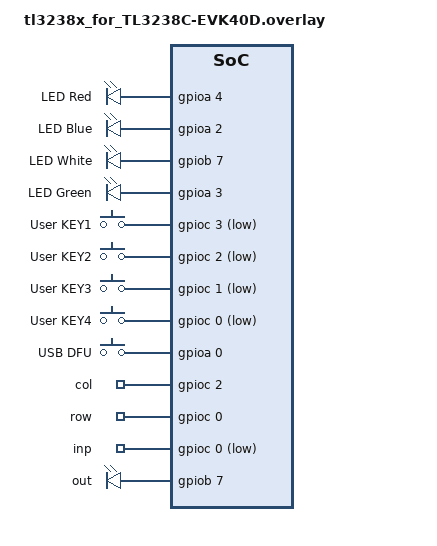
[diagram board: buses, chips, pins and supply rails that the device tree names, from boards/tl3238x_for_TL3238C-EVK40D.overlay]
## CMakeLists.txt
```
#
#    Copyright (c) 2022-2025 Project CHIP Authors
#
#    Licensed under the Apache License, Version 2.0 (the "License");
#    you may not use this file except in compliance with the License.
#    You may obtain a copy of the License at
#
#        http://www.apache.org/licenses/LICENSE-2.0
#
#    Unless required by applicable law or agreed to in writing, software
#    distributed under the License is distributed on an "AS IS" BASIS,
#    WITHOUT WARRANTIES OR CONDITIONS OF ANY KIND, either express or implied.
#    See the License for the specific language governing permissions and
#    limitations under the License.
#

cmake_minimum_required(VERSION 3.13.1)

get_filename_component(CHIP_ROOT ${CMAKE_CURRENT_SOURCE_DIR}/third_party/connectedhomeip REALPATH)
get_filename_component(TELINK_COMMON ${CHIP_ROOT}/examples/platform/telink REALPATH)
get_filename_component(GEN_DIR ${CHIP_ROOT}/zzz_generated/ REALPATH)

include(${TELINK_COMMON}/common.cmake)
include(${CHIP_ROOT}/config/telink/app/enable-gnu-std.cmake)
include(${CHIP_ROOT}/src/app/chip_data_model.cmake)

project(chip-telink-lighting-example)

target_include_directories(app PRIVATE
                           include
                           ${GEN_DIR}/app-common
                           ${GEN_DIR}/lighting-app
                           ${TELINK_COMMON}/common/include
                           ${TELINK_COMMON}/util/include
                           ${TELINK_COMMON}/app/include
                           ${TELINK_COMMON}/zephyr_ext)

if(CONFIG_TFLM_FEATURE)
  target_include_directories(app PRIVATE
                             src
                             src/tflm/micro_speech
                             src/tflm/models
                             ${ZEPHYR_BASE}/../modules/lib/tflite-micro-telink
                             ${ZEPHYR_BASE}/../modules/lib/tflite-micro-telink/third_party/ruy
                             ${ZEPHYR_BASE}/../modules/lib/tflite-micro-telink/third_party/gemmlowp
                             ${ZEPHYR_BASE}/../modules/lib/tflite-micro-telink/third_party/flatbuffers/include
                             ${ZEPHYR_BASE}/../modules/lib/tflite-micro-telink/third_party/kissfft/tools
                             ${ZEPHYR_BASE}/../modules/lib/tflite-micro-telink/third_party/kissfft)
endif()

target_sources(app PRIVATE
               src/AppTask.cpp
               src/ZclCallbacks.cpp
               ${TELINK_COMMON}/common/src/mainCommon.cpp
               ${TELINK_COMMON}/common/src/AppTaskCommon.cpp
               ${TELINK_COMMON}/util/src/LEDManager.cpp
               ${TELINK_COMMON}/util/src/ButtonManager.cpp
               ${TELINK_COMMON}/util/src/ThreadUtil.cpp
               ${TELINK_COMMON}/util/src/PWMManager.cpp
               ${TELINK_COMMON}/util/src/ColorFormat.cpp
               ${TELINK_COMMON}/zephyr_ext/zephyr_key_matrix.c
               ${TELINK_COMMON}/zephyr_ext/zephyr_key_pool.c
               ${TELINK_COMMON}/zephyr_ext/zephyr_led_pool.c
               ${TELINK_COMMON}/zephyr_ext/zephyr_ws2812.c)

if(CONFIG_TFLM_FEATURE)
  target_sources(app PRIVATE
                 src/tflm/audio/app_audio.c
                 src/tflm/audio/app_codec.c
                 src/tflm/audio/audio_common.c
                 src/tflm/models/audio_preprocessor_int8_model_data.cpp
                 src/tflm/models/audio_preprocessor_int8_model_data.h
                 src/tflm/models/micro_speech_quantized_model_data.cpp
                 src/tflm/models/micro_speech_quantized_model_data.h
                 src/tflm/micro_speech/micro_model_settings.h
                 src/tflm/micro_speech/tflite_micro_micro_speech.cpp
                 src/tflm/micro_speech/tflite_micro_micro_speech.h
                 src/tflm/errno_stub.c)
endif()

chip_configure_data_model(app
    ZAP_FILE ${CMAKE_CURRENT_SOURCE_DIR}/../lighting-common/lighting-app.zap
)

if(CONFIG_PWM)
	target_sources(app PRIVATE 
                   ${TELINK_COMMON}/zephyr_ext/zephyr_pwm_pool.c)
endif()

if(CONFIG_BOOTLOADER_MCUBOOT)
  target_sources(app PRIVATE ${TELINK_COMMON}/util/src/OTAUtil.cpp)
endif()

if (CONFIG_CHIP_PW_RPC)
  include(${TELINK_COMMON}/Rpc.cmake)
endif(CONFIG_CHIP_PW_RPC)

if(CONFIG_BT_CHANNEL_SOUNDING)
  target_sources(app PRIVATE ${CHIP_ROOT}/src/platform/telink/CsReflector.cpp)
endif()
```

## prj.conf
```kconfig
#
#    Copyright (c) 2021-2024 Project CHIP Authors
#
#    Licensed under the Apache License, Version 2.0 (the "License");
#    you may not use this file except in compliance with the License.
#    You may obtain a copy of the License at
#
#        http://www.apache.org/licenses/LICENSE-2.0
#
#    Unless required by applicable law or agreed to in writing, software
#    distributed under the License is distributed on an "AS IS" BASIS,
#    WITHOUT WARRANTIES OR CONDITIONS OF ANY KIND, either express or implied.
#    See the License for the specific language governing permissions and
#    limitations under the License.
#

# This sample uses Kconfig.defaults to set options common for all
# samples. This file should contain only options specific for this sample
# or overrides of default values.

# Enable CHIP
CONFIG_CHIP=y
CONFIG_STD_CPP17=y

# 32773 == 0x8005 (example lighting-app)
CONFIG_CHIP_DEVICE_PRODUCT_ID=32773

# Bluetooth Low Energy configuration
CONFIG_BT_DEVICE_NAME="TelinkLight"

# Disable Matter OTA DFU
CONFIG_CHIP_OTA_REQUESTOR=y
CONFIG_CHIP_DFU_OVER_BT_SMP=y
CONFIG_CHIP_DFU_OVER_BT_SMP_BUILD=y
CONFIG_CHIP_DEVICE_SOFTWARE_VERSION=1
CONFIG_TELINK_OTA_BUTTON_TEST=n

# Disable CHIP shell support
CONFIG_CHIP_LIB_SHELL=n

# Disable factory data support
CONFIG_CHIP_FACTORY_DATA=n
CONFIG_CHIP_FACTORY_DATA_BUILD=n
CONFIG_CHIP_FACTORY_DATA_MERGE_WITH_FIRMWARE=n
CONFIG_CHIP_CERTIFICATION_DECLARATION_STORAGE=n

# open seucre programming , need to open CONFIG_CHIP_FACTORY_DATA and CONFIG_CHIP_CERTIFICATION_DECLARATION_STORAGE
# init should be n 
CONFIG_SECURE_PROGRAMMING=n


# Enable PWM
CONFIG_PWM=y
CONFIG_CHIP_DEVICE_DISCRIMINATOR=0xF00
# Enable Power Management
CONFIG_PM=n
# Enable ADC
CONFIG_ADC=y

#compress ota
CONFIG_COMPRESS_LZMA=n
CONFIG_LZMA=n

# matter switch mode
# config NORMAL_MODE    0 independent matter mode
# ACTION_DUAL_MODE      1 matter action switch mode ,such as by button
# AUTO_SWITCH_DUAL_MODE 2 matter auto-switch mode ,such as by scan QR code.should use 4m flash
CONFIG_DUAL_MODE=2
# Enable Independent Button
CONFIG_CHIP_BUTTON_MANAGER_IRQ_MODE=n

# Enable CHIP-ID via ble
CONFIG_EXPOSE_CHIP_ID_VIA_BLE=n

# Enable Deferred Store Attribute
CONFIG_DEFERRED_ATTR_STORAGE=n

# CONFIG_MCUBOOT_SIGNATURE_KEY_FILE="bootloader/mcuboot/ecdsa_private_key.pem"
```

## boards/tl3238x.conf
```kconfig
# CONFIG_CHIP_DEVICE_SERIAL_NUMBER="TelinkLight-tl3238x"

# Disable Matter OTA DFU
CONFIG_CHIP_OTA_REQUESTOR=y
CONFIG_CHIP_DFU_OVER_BT_SMP=y
CONFIG_CHIP_DFU_OVER_BT_SMP_BUILD=y

#compress ota
CONFIG_LZMA=y
CONFIG_COMPRESS_LZMA=y

# Enable ADC
CONFIG_ADC=y

# matter switch mode 
# config NORMAL_MODE    0 independent matter mode
# ACTION_DUAL_MODE      1 matter action switch mode ,such as by button, light-switch-app
# AUTO_SWITCH_DUAL_MODE 2 matter auto-switch mode ,such as lighting-app by scan QR code.should use 4m flash
CONFIG_DUAL_MODE=0
```

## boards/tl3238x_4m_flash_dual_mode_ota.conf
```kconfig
# CONFIG_CHIP_DEVICE_SERIAL_NUMBER="TelinkLight-tlsr9268m"

# Disable Matter OTA DFU
CONFIG_CHIP_OTA_REQUESTOR=y
CONFIG_CHIP_DFU_OVER_BT_SMP=y
CONFIG_CHIP_DFU_OVER_BT_SMP_BUILD=y

#compress ota
CONFIG_LZMA=n
CONFIG_COMPRESS_LZMA=n

# Enable ADC
CONFIG_ADC=y

# matter switch mode 
# config NORMAL_MODE    0 independent matter mode
# ACTION_DUAL_MODE      1 matter action switch mode ,such as by button, light-switch-app
# AUTO_SWITCH_DUAL_MODE 2 matter auto-switch mode ,such as lighting-app by scan QR code.should use 4m flash
CONFIG_DUAL_MODE=2
```

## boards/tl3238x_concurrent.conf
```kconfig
# TL3238X Concurrent Mode (Matter over Thread + BLE coexistence)
# This config enables BLE + 802.15.4 coexistence mode.
# Usage:
#   west build -p -b tl3238x -d build_tl3238x_concurrent -- \
#   -DCONF_FILE="prj.conf boards/tl3238x_concurrent.conf" > build_tl3238x_concurrent.log

# Enable concurrent mode (Matter over Thread + BLE)
CONFIG_CHIP_CONCURRENT_MODE=y
CONFIG_IEEE802154_TLX_BLE_COEXIST=y

# CONFIG_CHIP_DEVICE_SERIAL_NUMBER="TelinkLight-tl3238x"

# Disable Matter OTA DFU
CONFIG_CHIP_OTA_REQUESTOR=n

CONFIG_CHIP_DFU_OVER_BT_SMP=n
CONFIG_CHIP_DFU_OVER_BT_SMP_BUILD=n

# LZMA compression library support
# Keep LZMA library enabled for potential general compression needs
CONFIG_LZMA=n
# Disable Telink-specific LZMA firmware decompression for bootloader
CONFIG_COMPRESS_LZMA=n

# Enable ADC
CONFIG_ADC=y

# matter switch mode 
# config NORMAL_MODE    0 independent matter mode
# ACTION_DUAL_MODE      1 matter action switch mode ,such as by button, light-switch-app
# AUTO_SWITCH_DUAL_MODE 2 matter auto-switch mode ,such as lighting-app by scan QR code.should use 4m flash
CONFIG_DUAL_MODE=0
```

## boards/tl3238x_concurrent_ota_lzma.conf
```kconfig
# TL3238X Concurrent Mode (Matter over Thread + BLE coexistence) with OTA
# This config enables BLE + 802.15.4 coexistence mode with OTA support.
# Usage:
#   west build -p -b tl3238x -d build_tl3238x_concurrent_ota_v1 -- \
#   -DCONF_FILE="prj.conf boards/tl3238x_concurrent_ota.conf" \
#   -DCONFIG_CHIP_DEVICE_SOFTWARE_VERSION=1 > build_tl3238x_concurrent_ota_v1.log

# Enable concurrent mode (Matter over Thread + BLE)
CONFIG_CHIP_CONCURRENT_MODE=y
CONFIG_IEEE802154_TLX_BLE_COEXIST=y

# CONFIG_CHIP_DEVICE_SERIAL_NUMBER="TelinkLight-tl3238x"

# Enable Matter OTA DFU
CONFIG_CHIP_OTA_REQUESTOR=y

CONFIG_CHIP_DFU_OVER_BT_SMP=y
CONFIG_CHIP_DFU_OVER_BT_SMP_BUILD=y

# LZMA compression library support
CONFIG_LZMA=y
CONFIG_COMPRESS_LZMA=y

# Enable ADC
CONFIG_ADC=y

# matter switch mode 
# config NORMAL_MODE    0 independent matter mode
# ACTION_DUAL_MODE      1 matter action switch mode ,such as by button, light-switch-app
# AUTO_SWITCH_DUAL_MODE 2 matter auto-switch mode ,such as lighting-app by scan QR code.should use 4m flash
CONFIG_DUAL_MODE=0
```

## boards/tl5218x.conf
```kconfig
# Disable Matter OTA DFU
CONFIG_CHIP_OTA_REQUESTOR=y
CONFIG_CHIP_DFU_OVER_BT_SMP=y
CONFIG_CHIP_DFU_OVER_BT_SMP_BUILD=y

#compress ota
CONFIG_LZMA=n
CONFIG_COMPRESS_LZMA=n

# Enable ADC
CONFIG_ADC=y

# matter switch mode 
# config NORMAL_MODE    0 independent matter mode
# ACTION_DUAL_MODE      1 matter action switch mode ,such as by button
# AUTO_SWITCH_DUAL_MODE 2 matter auto-switch mode ,such as by scan QR code.should use 4m flash
# CONFIG_DUAL_MODE=2
```

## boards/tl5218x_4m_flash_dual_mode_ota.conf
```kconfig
# CONFIG_CHIP_DEVICE_SERIAL_NUMBER="TelinkLight-tl5218x"

# Disable Matter OTA DFU
CONFIG_CHIP_OTA_REQUESTOR=y
CONFIG_CHIP_DFU_OVER_BT_SMP=y
CONFIG_CHIP_DFU_OVER_BT_SMP_BUILD=y

#compress ota
CONFIG_LZMA=n
CONFIG_COMPRESS_LZMA=n

# Enable ADC
CONFIG_ADC=n

# matter switch mode 
# config NORMAL_MODE    0 independent matter mode
# ACTION_DUAL_MODE      1 matter action switch mode ,such as by button, light-switch-app
# AUTO_SWITCH_DUAL_MODE 2 matter auto-switch mode ,such as lighting-app by scan QR code.should use 4m flash
CONFIG_DUAL_MODE=2
```

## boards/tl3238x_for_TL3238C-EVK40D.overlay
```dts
/*
 * Copyright (c) 2026 Telink Semiconductor
 *
 * SPDX-License-Identifier: Apache-2.0
 */

/ {
	aliases {
		led0 = &led_white;
		led1 = &led_green;
		led2 = &led_red;
		led3 = &led_blue;
		sw0 = &key_1;
		sw1 = &key_2;
		sw2 = &key_3;
		sw3 = &key_4;
		pwm-led0 = &pwm_led_blue;
		mcuboot-button0 = &key_dfu;
		mcuboot-led0 = &led_blue;
	};

	leds {
		compatible = "gpio-leds";
		led_red: led_0 {
			gpios = <&gpioa 4 0>; /* LEDR-PA4 */
			label = "LED Red";
		};
		led_blue: led_1 {
			gpios = <&gpioa 2 0>; /* LEDB-PA2 */
			label = "LED Blue";
		};
		led_white: led_2 {
			gpios = <&gpiob 7 0>; /* LEDW-PB7 */
			label = "LED White";
		};
		led_green: led_3 {
			gpios = <&gpioa 3 0>; /* LEDG-PA3 */
			label = "LED Green";
		};
	};

	keys {
		compatible = "gpio-keys";
		key_1: button_1 {
			label = "User KEY1";
			gpios = <&gpioc 3 11>; /* KEY1-PC3, GPIO_INPUT | GPIO_PULL_UP */
		};
		key_2: button_2 {
			label = "User KEY2";
			gpios = <&gpioc 2 11>; /* KEY2-PC2, GPIO_INPUT | GPIO_PULL_UP */
		};
		key_3: button_3 {
			label = "User KEY3";
			gpios = <&gpioc 1 11>; /* KEY3-PC1, GPIO_INPUT | GPIO_PULL_UP */
		};
		key_4: button_4 {
			label = "User KEY4";
			gpios = <&gpioc 0 11>; /* KEY4-PC0, GPIO_INPUT | GPIO_PULL_UP */
		};
		key_dfu: button_dfu {
			label = "USB DFU";
			gpios = <&gpioa 0 32>; /* 保持原有DFU按键配置 */
		};
	};

	key_matrix {
		compatible = "gpio-keys";
		col {
			gpios = <&gpioc 2 0>, <&gpioc 3 0>; /* COL0-PC2, COL1-PC3 */
		};
		row {
			gpios = <&gpioc 0 32>, <&gpioc 1 32>; /* ROW0-PC0, ROW1-PC1, GPIO_INPUT */
		};
	};

	key_pool {
		compatible = "gpio-keys";
		inp {
			gpios = <&gpioc 0 11>, <&gpioc 1 11>, <&gpioc 2 11>, <&gpioc 3 11>;
		};
	};

	led_pool {
		compatible = "gpio-leds";
		out {
			gpios = <&gpiob 7 0>; /* LEDW-PB7 */
		};
	};
};
```

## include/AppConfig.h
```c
/*
 *
 *    Copyright (c) 2021 Project CHIP Authors
 *    All rights reserved.
 *
 *    Licensed under the Apache License, Version 2.0 (the "License");
 *    you may not use this file except in compliance with the License.
 *    You may obtain a copy of the License at
 *
 *        http://www.apache.org/licenses/LICENSE-2.0
 *
 *    Unless required by applicable law or agreed to in writing, software
 *    distributed under the License is distributed on an "AS IS" BASIS,
 *    WITHOUT WARRANTIES OR CONDITIONS OF ANY KIND, either express or implied.
 *    See the License for the specific language governing permissions and
 *    limitations under the License.
 */

#pragma once

// ---- Lighting Example App Config ----

#define APP_SET_DEVICE_INFO_PROVIDER 1
#define APP_SET_NETWORK_COMM_ENDPOINT_SEC 0

// -----User setting part
#define APP_LIGHT_USER_MODE_EN 1

#define APP_LIGHT_PWM 0
#define APP_LIGHT_I2C 1
#define APP_LIGHT_ADC 2

#if CONFIG_I2C
#define APP_LIGHT_MODE APP_LIGHT_I2C
#elif CONFIG_ADC
#define APP_LIGHT_MODE APP_LIGHT_ADC
#define APP_TELINK_DRIVERS_ADC 0
#else
#define APP_LIGHT_MODE APP_LIGHT_PWM
#endif

// Independent Factory Reset Button
#define INDEPENDENT_FACTORY_RESET_BUTTON 0

#define FW_TYPE_PRODUCT 0
#define FW_TYPE_DEBUG 1
#define FW_TYPE_DEVELOP 2

#define MATTER_FW_TYPE FW_TYPE_PRODUCT
```

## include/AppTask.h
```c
/*
 *
 *    Copyright (c) 2022-2023 Project CHIP Authors
 *    All rights reserved.
 *
 *    Licensed under the Apache License, Version 2.0 (the "License");
 *    you may not use this file except in compliance with the License.
 *    You may obtain a copy of the License at
 *
 *        http://www.apache.org/licenses/LICENSE-2.0
 *
 *    Unless required by applicable law or agreed to in writing, software
 *    distributed under the License is distributed on an "AS IS" BASIS,
 *    WITHOUT WARRANTIES OR CONDITIONS OF ANY KIND, either express or implied.
 *    See the License for the specific language governing permissions and
 *    limitations under the License.
 */

#pragma once

#include "AppTaskCommon.h"

class AppTask : public AppTaskCommon
{
public:
    enum Fixture_Action : uint8_t
    {
        ON_ACTION = 0,
        OFF_ACTION,
        LEVEL_ACTION,
        COLOR_ACTION_XY,
        COLOR_ACTION_HSV,
        COLOR_ACTION_CT,

        INVALID_ACTION
    };

#ifdef CONFIG_CHIP_ENABLE_POWER_ON_FACTORY_RESET
    void PowerOnFactoryReset(void);
#endif /* CONFIG_CHIP_ENABLE_POWER_ON_FACTORY_RESET */

    bool IsTurnedOn() const;
    void SetInitiateAction(Fixture_Action aAction, int32_t aActor, uint8_t * value);
    void UpdateClusterState(void);

#ifdef CONFIG_TFLM_FEATURE
    static void MicroSpeechProcessStop();
#endif

private:
    friend AppTask & GetAppTask(void);
    friend class AppTaskCommon;

    CHIP_ERROR Init(void);
    void Init_cluster_info(void);
    void Set_cluster_info(void);

    void LinkLeds(LedManager & ledManager);

#ifdef CONFIG_TFLM_FEATURE
    static void AudioProcessUpdateTimerTimeoutCallback(k_timer * timer);
    static void AudioProcessUpdateTimerEventHandler(AppEvent * aEvent);
    static void MicroSpeechProcessStart();
#endif

    static void LightingActionEventHandler(AppEvent * aEvent);
#ifdef CONFIG_CHIP_ENABLE_POWER_ON_FACTORY_RESET
    static void PowerOnFactoryResetEventHandler(AppEvent * aEvent);
    static void PowerOnFactoryResetTimerEvent(struct k_timer * dummy);

    static unsigned int sPowerOnFactoryResetTimerCnt;
    static k_timer sPowerOnFactoryResetTimer;
#endif /* CONFIG_CHIP_ENABLE_POWER_ON_FACTORY_RESET */

    static AppTask sAppTask;
};

inline AppTask & GetAppTask(void)
{
    return AppTask::sAppTask;
}
```

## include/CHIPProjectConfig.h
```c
/*
 *
 *    Copyright (c) 2021 Project CHIP Authors
 *    All rights reserved.
 *
 *    Licensed under the Apache License, Version 2.0 (the "License");
 *    you may not use this file except in compliance with the License.
 *    You may obtain a copy of the License at
 *
 *        http://www.apache.org/licenses/LICENSE-2.0
 *
 *    Unless required by applicable law or agreed to in writing, software
 *    distributed under the License is distributed on an "AS IS" BASIS,
 *    WITHOUT WARRANTIES OR CONDITIONS OF ANY KIND, either express or implied.
 *    See the License for the specific language governing permissions and
 *    limitations under the License.
 */

/**
 *    @file
 *          Example project configuration file for CHIP.
 *
 *          This is a place to put application or project-specific overrides
 *          to the default configuration values for general CHIP features.
 *
 */

#pragma once

// Use a default pairing code if one hasn't been provisioned in flash.
#define CHIP_DEVICE_CONFIG_USE_TEST_SETUP_PIN_CODE 20202021
#define CHIP_DEVICE_CONFIG_USE_TEST_SETUP_DISCRIMINATOR 0xF00

//  Switching from Thread child to router may cause a few second packet stall.
//  Until this is improved in OpenThread we need to increase the retransmission
//  interval to survive the stall.
#define CHIP_CONFIG_MRP_LOCAL_ACTIVE_RETRY_INTERVAL (1000_ms32)

// ========== Multicast groups Configuration Overrides =========
#undef CHIP_CONFIG_MAX_GROUP_ENDPOINTS_PER_FABRIC
#define CHIP_CONFIG_MAX_GROUP_ENDPOINTS_PER_FABRIC 2

#define CHIP_CONFIG_EXAMPLE_ACCESS_CONTROL_MAX_SUBJECTS_PER_ENTRY (4 * CHIP_CONFIG_MAX_GROUP_ENDPOINTS_PER_FABRIC)

#define CHIP_CONFIG_MAX_GROUPCAST_MEMBERSHIP_COUNT 16
```

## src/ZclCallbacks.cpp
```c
/*
 *
 *    Copyright (c) 2022-2024 Project CHIP Authors
 *    All rights reserved.
 *
 *    Licensed under the Apache License, Version 2.0 (the "License");
 *    you may not use this file except in compliance with the License.
 *    You may obtain a copy of the License at
 *
 *        http://www.apache.org/licenses/LICENSE-2.0
 *
 *    Unless required by applicable law or agreed to in writing, software
 *    distributed under the License is distributed on an "AS IS" BASIS,
 *    WITHOUT WARRANTIES OR CONDITIONS OF ANY KIND, either express or implied.
 *    See the License for the specific language governing permissions and
 *    limitations under the License.
 */

#include "AppConfig.h"
#include "AppTask.h"
#include "ColorFormat.h"

#include <app-common/zap-generated/attributes/Accessors.h>
#include <app-common/zap-generated/ids/Attributes.h>
#include <app-common/zap-generated/ids/Clusters.h>
#include <app/ConcreteAttributePath.h>
#include <lib/support/logging/CHIPLogging.h>

LOG_MODULE_DECLARE(app, CONFIG_CHIP_APP_LOG_LEVEL);

using namespace chip;
using namespace chip::app::Clusters;

#if APP_LIGHT_USER_MODE_EN

#if CONFIG_STARTUP_OPTIMIZATE
#include "AppTaskCommon.h"

static uint8_t latest_level;
#define CLUTER_SOTRE_TIMEOUT 500
#define TRANSTION_TIMER_INIT_FLAG 0x55
#define TRANSTION_TIMER_DEINIT_FLAG 0x00

struct k_timer LevelChangeTimer;
static int timer_period   = CLUTER_SOTRE_TIMEOUT;
static uint8_t init_timer = TRANSTION_TIMER_INIT_FLAG;

static void LevelTimeoutCallback(struct k_timer * timer)
{
    if (!timer)
    {
        return;
    }

    cluster_startup_para *p_para = &g_light_cluster_para;
    if (p_para->currentLevel != latest_level)
    {
        p_para->preCurrentLevel = p_para->currentLevel;
        p_para->currentLevel    = latest_level;
        printk("[LevelTimeoutCallback] currentLevel=%d\n", p_para->currentLevel);
        if (store_cluster_para(p_para) != 0)
        {
            printk("[LevelTimeoutCallback] Fail store startup cluster para\n");
        }
    }
}

void MatterPostAttributeChangeCallback(const chip::app::ConcreteAttributePath & attributePath, uint8_t type, uint16_t size,
                                       uint8_t * value)
{
    /* user mode, add the customer code here for cb */
    ClusterId clusterId     = attributePath.mClusterId;
    AttributeId attributeId = attributePath.mAttributeId;

    if (init_timer == TRANSTION_TIMER_INIT_FLAG)
    {
        k_timer_init(&LevelChangeTimer, &LevelTimeoutCallback, nullptr);
        init_timer = TRANSTION_TIMER_DEINIT_FLAG;
    }

    Protocols::InteractionModel::Status status;
    Clusters::ColorControl::ColorModeEnum tmpColorMode;
    Clusters::ColorControl::EnhancedColorModeEnum tmpEnhancedColorMode;
    cluster_startup_para * p_para = &g_light_cluster_para;
    if (clusterId == OnOff::Id)
    {
        if (attributeId == OnOff::Attributes::OnOff::Id)
        {
            uint8_t tmp = *value;
            if (p_para->onOff != tmp)
            {
                p_para->onOff = tmp;
                printk("[clusterId:OnOff] OnOff=%d\n", p_para->onOff);

                if (store_cluster_para(p_para) != 0)
                {
                    printk("[clusterId:OnOff] Fail store startup cluster para\n");
                }
            }
        }
        else if (attributeId == OnOff::Attributes::StartUpOnOff::Id)
        {
            uint8_t tmp = *value;
            DataModel::Nullable<chip::app::Clusters::OnOff::StartUpOnOffEnum> tmp1 =
                (chip::app::Clusters::OnOff::StartUpOnOffEnum) tmp;
            if (tmp1.IsNull())
            {
                tmp = 0xff;
            }
            if (p_para->startUpOnOff != tmp)
            {
                p_para->startUpOnOff = tmp;
                printk("[clusterId:OnOff] StartUpOnOff=%d\n", p_para->startUpOnOff);
                if (store_cluster_para(p_para) != 0)
                {
                    printk("[clusterId:OnOff] Fail store startup cluster para\n");
                }
            }
        }
    }
    else if (clusterId == LevelControl::Id)
    {
        if (attributeId == LevelControl::Attributes::CurrentLevel::Id)
        {
            latest_level = *value;
            k_timer_stop(&LevelChangeTimer);
            k_timer_start(&LevelChangeTimer, K_MSEC(timer_period), K_NO_WAIT);
        }
        else if (attributeId == LevelControl::Attributes::MinLevel::Id)
        {
            uint8_t tmp = *value;
            if (p_para->minLevel != tmp)
            {
                p_para->minLevel = tmp;
                printk("[clusterId:LevelControl] MinLevel=%d\n", p_para->minLevel);
                if (store_cluster_para(p_para) != 0)
                {
                    printk("[clusterId:OnOff] Fail store startup cluster para\n");
                }
            }
        }
        else if (attributeId == LevelControl::Attributes::MaxLevel::Id)
        {
            uint8_t tmp = *value;
            if (p_para->maxLevel != tmp)
            {
                p_para->maxLevel = tmp;
                printk("[clusterId:LevelControl] MaxLevel=%d\n", p_para->maxLevel);
                if (store_cluster_para(p_para) != 0)
                {
                    printk("[clusterId:OnOff] Fail store startup cluster para\n");
                }
            }
        }
        else if (attributeId == LevelControl::Attributes::StartUpCurrentLevel::Id)
        {
            uint8_t tmp             = *value;
            p_para->preCurrentLevel = p_para->currentLevel;

            DataModel::Nullable<uint8_t> tmp1 = tmp;
            if (tmp1.IsNull())
            {
                tmp = 0xff;
            }
            p_para->startUpCurrentLevel = tmp;
            printk("[clusterId:LevelControl] StartUpCurrentLevel=%d\n", p_para->startUpCurrentLevel);
            if (store_cluster_para(p_para) != 0)
            {
                printk("[clusterId:OnOff] Fail store startup cluster para\n");
            }
        }
    }
    else if (clusterId == ColorControl::Id)
    {
        if (attributeId == ColorControl::Attributes::CurrentHue::Id)
        {
            uint8_t tmp = *value;
            status      = Clusters::ColorControl::Attributes::ColorMode::Get(1, &tmpColorMode);
            p_para->colorMode = static_cast<uint8_t>(tmpColorMode);
            status      = Clusters::ColorControl::Attributes::EnhancedColorMode::Get(1, &tmpEnhancedColorMode);
            p_para->enhancedColorMode = static_cast<uint8_t>(tmpEnhancedColorMode);

            p_para->hsv.h = tmp;
            printk("[clusterId:ColorControl] CurrentHue=%d\n", p_para->hsv.h);
            printk("[clusterId:ColorControl] ColorMode=%d\n", p_para->colorMode);
            printk("[clusterId:ColorControl] EnhancedColorMode=%d\n", p_para->enhancedColorMode);
            if (store_cluster_para(p_para) != 0)
            {
                printk("[clusterId:OnOff] Fail store startup cluster para\n");
            }
        }
        else if (attributeId == ColorControl::Attributes::CurrentSaturation::Id)
        {
            uint8_t tmp = *value;
            status      = Clusters::ColorControl::Attributes::ColorMode::Get(1, &tmpColorMode);
            p_para->colorMode = static_cast<uint8_t>(tmpColorMode);
            status      = Clusters::ColorControl::Attributes::EnhancedColorMode::Get(1, &tmpEnhancedColorMode);
            p_para->enhancedColorMode = static_cast<uint8_t>(tmpEnhancedColorMode);

            p_para->hsv.s = tmp;
            printk("[clusterId:ColorControl] CurrentSaturation=%d\n", p_para->hsv.s);
            printk("[clusterId:ColorControl] ColorMode=%d\n", p_para->colorMode);
            printk("[clusterId:ColorControl] EnhancedColorMode=%d\n", p_para->enhancedColorMode);
            if (store_cluster_para(p_para) != 0)
            {
                printk("[clusterId:OnOff] Fail store startup cluster para\n");
            }
        }
        else if (attributeId == ColorControl::Attributes::CurrentX::Id)
        {
            uint16_t tmp = *reinterpret_cast<uint16_t *>(value);
            status       = Clusters::ColorControl::Attributes::ColorMode::Get(1, &tmpColorMode);
            p_para->colorMode = static_cast<uint8_t>(tmpColorMode);
            status       = Clusters::ColorControl::Attributes::EnhancedColorMode::Get(1, &tmpEnhancedColorMode);
            p_para->enhancedColorMode = static_cast<uint8_t>(tmpEnhancedColorMode);

            p_para->xy.x = tmp;
            printk("[clusterId:ColorControl] CurrentX=%d\n", p_para->xy.x);
            printk("[clusterId:ColorControl] ColorMode=%d\n", p_para->colorMode);
            printk("[clusterId:ColorControl] EnhancedColorMode=%d\n", p_para->enhancedColorMode);
            if (store_cluster_para(p_para) != 0)
            {
                printk("[clusterId:OnOff] Fail store startup cluster para\n");
            }
        }
        else if (attributeId == ColorControl::Attributes::CurrentY::Id)
        {

            uint16_t tmp = *reinterpret_cast<uint16_t *>(value);
            status       = Clusters::ColorControl::Attributes::ColorMode::Get(1, &tmpColorMode);
            p_para->colorMode = static_cast<uint8_t>(tmpColorMode);
            status       = Clusters::ColorControl::Attributes::EnhancedColorMode::Get(1, &tmpEnhancedColorMode);
            p_para->enhancedColorMode = static_cast<uint8_t>(tmpEnhancedColorMode);

            p_para->xy.y = tmp;
            printk("[clusterId:ColorControl] CurrentX=%d\n", p_para->xy.x);
            printk("[clusterId:ColorControl] ColorMode=%d\n", p_para->colorMode);
            printk("[clusterId:ColorControl] EnhancedColorMode=%d\n", p_para->enhancedColorMode);
            if (store_cluster_para(p_para) != 0)
            {
                printk("[clusterId:OnOff] Fail store startup cluster para\n");
            }
        }
        else if (attributeId == ColorControl::Attributes::ColorTemperatureMireds::Id)
        {
            uint16_t tmp = *reinterpret_cast<uint16_t *>(value);
            status       = Clusters::ColorControl::Attributes::ColorMode::Get(1, &tmpColorMode);
            p_para->colorMode = static_cast<uint8_t>(tmpColorMode);
            status       = Clusters::ColorControl::Attributes::EnhancedColorMode::Get(1, &tmpEnhancedColorMode);
            p_para->enhancedColorMode = static_cast<uint8_t>(tmpEnhancedColorMode);

            p_para->colorTemperatureMireds = tmp;
            printk("[clusterId:ColorControl] ColorTemperatureMireds=%d\n", p_para->colorTemperatureMireds);
            printk("[clusterId:ColorControl] ColorMode=%d\n", p_para->colorMode);
            printk("[clusterId:ColorControl] EnhancedColorMode=%d\n", p_para->enhancedColorMode);
            if (store_cluster_para(p_para) != 0)
            {
                printk("[clusterId:OnOff] Fail store startup cluster para\n");
            }
        }
        else if (attributeId == ColorControl::Attributes::ColorMode::Id)
        {
            uint8_t tmp = *value;
            printk("[clusterId:ColorControl] ColorMode=%d\n", p_para->colorMode);
            if (p_para->colorMode != tmp)
            {
                p_para->colorMode = tmp;
                if (store_cluster_para(p_para) != 0)
                {
                    printk("[clusterId:OnOff] Fail store startup cluster para\n");
                }
            }
        }
        else if (attributeId == ColorControl::Attributes::EnhancedCurrentHue::Id)
        {
            uint16_t tmp = *reinterpret_cast<uint16_t *>(value);
            status       = Clusters::ColorControl::Attributes::ColorMode::Get(1, &tmpColorMode);
            p_para->colorMode = static_cast<uint8_t>(tmpColorMode);
            status       = Clusters::ColorControl::Attributes::EnhancedColorMode::Get(1, &tmpEnhancedColorMode);
            p_para->enhancedColorMode = static_cast<uint8_t>(tmpEnhancedColorMode);

            p_para->enhancedCurrentHue = tmp;
            printk("[clusterId:ColorControl] EnhancedCurrentHue=%d\n", p_para->enhancedCurrentHue);
            printk("[clusterId:ColorControl] ColorMode=%d\n", p_para->colorMode);
            printk("[clusterId:ColorControl] EnhancedColorMode=%d\n", p_para->enhancedColorMode);
            if (store_cluster_para(p_para) != 0)
            {
                printk("[clusterId:OnOff] Fail store startup cluster para\n");
            }
        }
        else if (attributeId == ColorControl::Attributes::EnhancedColorMode::Id)
        {
            uint8_t tmp = *value;
            printk("[clusterId:ColorControl] EnhancedColorMode=%d\n", p_para->enhancedColorMode);
            if (p_para->enhancedColorMode != tmp)
            {
                p_para->enhancedColorMode = tmp;
                if (store_cluster_para(p_para) != 0)
                {
                    printk("[clusterId:OnOff] Fail store startup cluster para\n");
                }
            }
        }
        else if (attributeId == ColorControl::Attributes::StartUpColorTemperatureMireds::Id)
        {
            uint16_t tmp                       = *reinterpret_cast<uint16_t *>(value);
            DataModel::Nullable<uint16_t> tmp1 = tmp;
            if (tmp1.IsNull())
            {
                tmp = 0xffff;
            }
            status = Clusters::ColorControl::Attributes::ColorMode::Get(1, &tmpColorMode);
            p_para->colorMode = static_cast<uint8_t>(tmpColorMode);
            status = Clusters::ColorControl::Attributes::EnhancedColorMode::Get(1, &tmpEnhancedColorMode);
            p_para->enhancedColorMode = static_cast<uint8_t>(tmpEnhancedColorMode);

            if (p_para->startUpColorTemperatureMireds != tmp)
            {
                p_para->startUpColorTemperatureMireds = tmp;
                if (store_cluster_para(p_para) != 0)
                {
                    printk("[clusterId:OnOff] Fail store startup cluster para\n");
                }
            }
        }
    }
}
#else
void MatterPostAttributeChangeCallback(const chip::app::ConcreteAttributePath & attributePath, uint8_t type, uint16_t size,
                                       uint8_t * value)
{
    /* user mode, add the customer code here for cb */
    return;
}
#endif /* CONFIG_STARTUP_OPTIMIZATE */

#else
void MatterPostAttributeChangeCallback(const chip::app::ConcreteAttributePath & attributePath, uint8_t type, uint16_t size,
                                       uint8_t * value)
{
    static HsvColor_t hsv;
    static XyColor_t xy;
    ClusterId clusterId     = attributePath.mClusterId;
    AttributeId attributeId = attributePath.mAttributeId;

    if (clusterId == OnOff::Id && attributeId == OnOff::Attributes::OnOff::Id)
    {
        ChipLogDetail(Zcl, "Cluster OnOff: attribute OnOff set to %u", *value);
        GetAppTask().SetInitiateAction(*value ? AppTask::ON_ACTION : AppTask::OFF_ACTION,
                                       static_cast<int32_t>(AppEvent::kEventType_DeviceAction), value);
    }
    else if (clusterId == LevelControl::Id && attributeId == LevelControl::Attributes::CurrentLevel::Id)
    {
        if (GetAppTask().IsTurnedOn())
        {
            ChipLogDetail(Zcl, "Cluster LevelControl: attribute CurrentLevel set to %u", *value);
            GetAppTask().SetInitiateAction(AppTask::LEVEL_ACTION, static_cast<int32_t>(AppEvent::kEventType_DeviceAction), value);
        }
        else
        {
            ChipLogDetail(Zcl, "LED is off. Try to use move-to-level-with-on-off instead of move-to-level");
        }
    }
    else if (clusterId == ColorControl::Id)
    {
        /* Ignore several attributes that are currently not processed */
        if ((attributeId == ColorControl::Attributes::RemainingTime::Id) ||
            (attributeId == ColorControl::Attributes::EnhancedColorMode::Id) ||
            (attributeId == ColorControl::Attributes::ColorMode::Id))
        {
            return;
        }

        /* XY color space */
        if (attributeId == ColorControl::Attributes::CurrentX::Id || attributeId == ColorControl::Attributes::CurrentY::Id)
        {
            if (attributeId == ColorControl::Attributes::CurrentX::Id)
            {
                xy.x = *reinterpret_cast<uint16_t *>(value);
            }
            else if (attributeId == ColorControl::Attributes::CurrentY::Id)
            {
                xy.y = *reinterpret_cast<uint16_t *>(value);
            }

            ChipLogDetail(Zcl, "New XY color: %u|%u", xy.x, xy.y);
            GetAppTask().SetInitiateAction(AppTask::COLOR_ACTION_XY, static_cast<int32_t>(AppEvent::kEventType_DeviceAction),
                                           (uint8_t *) &xy);
        }
        /* HSV color space */
        else if (attributeId == ColorControl::Attributes::CurrentHue::Id ||
                 attributeId == ColorControl::Attributes::CurrentSaturation::Id ||
                 attributeId == ColorControl::Attributes::EnhancedCurrentHue::Id)
        {
            if (attributeId == ColorControl::Attributes::EnhancedCurrentHue::Id)
            {
                hsv.h = (uint8_t) (((*reinterpret_cast<uint16_t *>(value)) & 0xFF00) >> 8);
                hsv.s = (uint8_t) ((*reinterpret_cast<uint16_t *>(value)) & 0xFF);
            }
            else if (attributeId == ColorControl::Attributes::CurrentHue::Id)
            {
                hsv.h = *value;
            }
            else if (attributeId == ColorControl::Attributes::CurrentSaturation::Id)
            {
                hsv.s = *value;
            }
            ChipLogDetail(Zcl, "New HSV color: hue = %u| saturation = %u", hsv.h, hsv.s);
            GetAppTask().SetInitiateAction(AppTask::COLOR_ACTION_HSV, static_cast<int32_t>(AppEvent::kEventType_DeviceAction),
                                           (uint8_t *) &hsv);
        }
        /* Temperature Mireds color space */
        else if (attributeId == ColorControl::Attributes::ColorTemperatureMireds::Id)
        {
            ChipLogDetail(Zcl, "New Temperature Mireds color = %u", *(uint16_t *) value);
            GetAppTask().SetInitiateAction(AppTask::COLOR_ACTION_CT, static_cast<int32_t>(AppEvent::kEventType_DeviceAction),
                                           value);
        }
        else
        {
            ChipLogDetail(Zcl, "Ignore ColorControl attribute (%u) that is not currently processed!", attributeId);
        }
    }
}
#endif /* APP_LIGHT_USER_MODE_EN */
```
